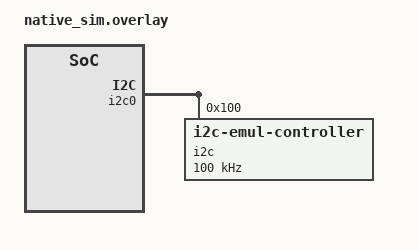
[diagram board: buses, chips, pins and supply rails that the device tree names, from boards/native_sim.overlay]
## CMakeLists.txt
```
cmake_minimum_required(VERSION 3.20.0)
find_package(Zephyr REQUIRED HINTS $ENV{ZEPHYR_BASE})
project(ac780sTesting)

target_sources(app PRIVATE 
    src/main.c
    src/ac780s_emul.c
)
```

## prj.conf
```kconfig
CONFIG_EMUL=y
CONFIG_I2C_EMUL=y
CONFIG_ZTEST=y
CONFIG_I2C=y
CONFIG_I2C_EMUL=y
CONFIG_LOG=y
CONFIG_LOG_MODE_MINIMAL=y
CONFIG_AUXDISPLAY=y
CONFIG_AUXDISPLAY_AC780S=y
```

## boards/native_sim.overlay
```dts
&i2c0 {

    i2c@100 {
        status = "okay";
        compatible = "zephyr,i2c-emul-controller";
        clock-frequency = <I2C_BITRATE_STANDARD>;
        reg = <0x100 4>;
        #address-cells = <1>;
        #size-cells = <0>;

    };
};
```

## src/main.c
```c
#include <zephyr/kernel.h>
#include <zephyr/drivers/i2c.h>
#include <zephyr/drivers/auxdisplay.h>
#include <zephyr/ztest.h>


/*
int print_addr(
    const struct device* dev,
    uint8_t addr
) {
    // clear display
    auxdisplay_clear(dev);
    auxdisplay_cursor_position_set(
        dev,
        AUXDISPLAY_POSITION_ABSOLUTE,
        0,
        0
    );
    
    // write hex addr on top line
    uint8_t firstBuf[8];
    snprintk(firstBuf, sizeof(uint8_t)*8, "W0x%04x  ", addr);
    firstBuf[7] = 0x10;
    //printk("W:0x%04x\n", addr);
    auxdisplay_write(i2c0_dev, firstBuf, 8*sizeof(uint8_t));
    // write addr to display on second
    uint8_t secondBuf[1] = {addr};
    auxdisplay_write(i2c0_dev, secondBuf, sizeof(uint8_t));

    return 0;
}




int main(void)
{

        if (!device_is_ready(i2c0_dev)) {
            printk("I2C_0 device not ready :(\n");
            return 0;
        } else {
            printk("I2C_0 device is ready!\n");
        }

        k_msleep(500);

        // set custom chars
        uint8_t sadArr[] = {
            0 ,255, 0 ,255, 0 ,
           255, 0 , 0 , 0 ,255,
            0 , 0 , 0 , 0 , 0 ,
            0 ,255, 0 ,255, 0 ,
            0 , 0 , 0 , 0 , 0 ,
            0 ,255,255,255, 0 ,
           255, 0 , 0 , 0 ,255,
            0 , 0 , 0 , 0 , 0 
        };
        uint8_t backslashArr[] = {
            0 , 0 , 0 , 0 , 0 ,
            0 , 0 , 0 , 0 ,255,
            0 , 0 , 0 ,255, 0 ,
            0 , 0 ,255, 0 , 0 ,
            0 ,255, 0 , 0 , 0 ,
           255, 0 , 0 , 0 , 0 ,
            0 , 0 , 0 , 0 , 0 ,
            0 , 0 , 0 , 0 , 0 
        };
        uint8_t angyArr[] = {
           255, 0 , 0 , 0 ,255,
            0 ,255, 0 ,255, 0 ,
            0 , 0 , 0 , 0 , 0 ,
            0 ,255, 0 ,255, 0 ,
            0 , 0 , 0 , 0 , 0 ,
            0 ,255,255,255, 0 ,
           255, 0 , 0 , 0 ,255,
            0 , 0 , 0 , 0 , 0 
        };
        uint8_t happyArr[] = {
            0 , 0 , 0 , 0 , 0 ,
            0 ,255, 0 ,255, 0 ,
            0 ,255, 0 ,255, 0 ,
            0 , 0 , 0 , 0 , 0 ,
           255, 0 , 0 , 0 ,255,
            0 ,255,255,255, 0 ,
            0 , 0 , 0 , 0 , 0 ,
            0 , 0 , 0 , 0 , 0 
        };

        struct auxdisplay_character backslash = {
            .character_code = 99,
            .index = 0,
            .data = backslashArr
        };
        struct auxdisplay_character happy = {
            .character_code = 99,
            .index = 1,
            .data = happyArr
        };
        struct auxdisplay_character angy = {
            .character_code = 99,
            .index = 2,
            .data = angyArr
        };
        struct auxdisplay_character sad = {
            .character_code = 99,
            .index = 3,
            .data = sadArr
        };

        int err = 0;

        err = auxdisplay_custom_character_set(
            i2c0_dev,
            &backslash
        );
        if (err) {
            printk("ERR [%d]\n", err);
        }

        err = auxdisplay_custom_character_set(
            i2c0_dev,
            &happy
        );
        if (err) {
            printk("ERR [%d]\n", err);
        }

        err = auxdisplay_custom_character_set(
            i2c0_dev,
            &angy
        );
        if (err) {
            printk("ERR [%d]\n", err);
        }

        err = auxdisplay_custom_character_set(
            i2c0_dev,
            &sad
        );
        if (err) {
            printk("ERR [%d]\n", err);
        }

        printk("char code of backslash: [%d]\n", backslash.character_code);
        printk("char code of happy: [%d]\n", happy.character_code);
        printk("char code of angy: [%d]\n", angy.character_code);
        printk("char code of sad: [%d]\n", sad.character_code);

        // this is the closest I can get to ¯\_(ツ)_/¯, since there's
        // no preprogrammed backslash in the AC780S...
        uint8_t chars[] = {
            0x2D,
            0x00,
            0x5F,
            0x28,
            0xBC,
            0x29,
            0x5F,
            0x2F//,
            //0x2D
        };

        err = auxdisplay_write(i2c0_dev, chars, sizeof(chars));
        if (err) {
            printk("ERR [%d]\n", err);
        }

        k_msleep(9001);

        uint8_t x = 0;
        while (1) {

            print_addr(i2c0_dev, x);
            k_msleep(1000);

            x++;
        }


        return 0;
}
*/

ZTEST(auxdisplay_ac780s_tests, test_clear) {
    printk("Hello world!\n");

    // get the i2c0 device from dt
    const static struct device *i2c0_dev = DEVICE_DT_GET(DT_CHILD(DT_NODELABEL(i2c0), i2c_100));
   
    printk("Hello world! II\n");    
    
    zassert_true(device_is_ready(i2c0_dev), "I2C device not ready");

    printk("Hello world! III\n");

    int err = auxdisplay_clear(i2c0_dev);

    printk("Hello world! IV\n");

    zassert_equal(err, 0, "FAIL: auxdisplay_ac780s_clear");

    printk("Hello world! V\n");

}

ZTEST_SUITE(auxdisplay_ac780s_tests, NULL, NULL, NULL, NULL, NULL);
```

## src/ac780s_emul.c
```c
#include <zephyr/drivers/emul.h>
#include <zephyr/drivers/i2c.h>
#include <zephyr/ztest.h>

struct ac780s_emul_data {
	bool power;
	bool cursor;
	bool blinking;
    bool increment;
	uint16_t cursor_x;
	uint16_t cursor_y;
};

struct ac780s_emul_config {
	uint16_t placeholder;
};

static int ac780s_emul_transfer(
    const struct emul *target,
    struct i2c_msg *msgs,
    int num_msgs,
    int addr
) {
    printk("Calling ac780s_emul_transfer...\n");
    return 0;
}

static int ac780s_emul_init() {
    printk("Calling ac780s_emul_init...\n");

    return 0;
}

static struct i2c_emul_api ac780s_emul_api = {
    .transfer = ac780s_emul_transfer,
};

static struct ac780s_emul_data emul_data = {
    .power = false,
	.cursor = false,
	.blinking = false,
    .increment = false,
	.cursor_x = 0,
	.cursor_y = 0,
};

static const struct ac780s_emul_config emul_config = {
    .placeholder = 0,
};


// this *should* work just like how the ac780s driver get instantiated
//#define AC780S_EMUL_INST(inst)                                              \
//    static const struct ac780s_emul_config ac780s_emul_config_##inst = {    \
//        .placeholder = 0,                                                   \
//    };                                                                      \
//                                                                            \
//    static struct ac780s_emul_data ac780s_emul_data##inst;                  \
//                                                                            \
//    EMUL_DT_INST_DEFINE(inst, ac780s_emul_init, &emul_data_##inst,          \
//        &emul_config_##inst, &ac780s_emul_api, NULL);
//
//DT_INST_FOREACH_STATUS_OKAY(AC780S_EMUL_INST)
/*
But it doesn't...
adam@ap3561:~/zephyrProjects/ac780sTesting$ ./build/ac780sTesting/zephyr/zephyr.exe
WARNING: Using a test - not safe - entropy source
[00:00:00.000,000] <inf> emul: Registering 1 emulator(s) for i2c@100
[00:00:00.000,000] <wrn> emul: Cannot find emulator for 'i2c@100'           // in fact it's worse than the other way
[00:00:00.000,000] <inf> emul: Registering 0 emulator(s) for i2c@100
*** Booting nRF Connect SDK v2.9.99-bc89c45cf4b2 ***
*** Using Zephyr OS v4.0.99-10eb60b48111 ***
Running TESTSUITE auxdisplay_ac780s_tests
===================================================================
START - test_clear
Hello world!
Hello world! II
Hello world! III
Segmentation fault (core dumped)
*/


#define AC780S_EMUL_INST
EMUL_DT_DEFINE(
    DT_CHILD(DT_NODELABEL(i2c0), i2c_100),
    ac780s_emul_init,
    &emul_data,
    &emul_config,
    &ac780s_emul_api,
    NULL
);
```
